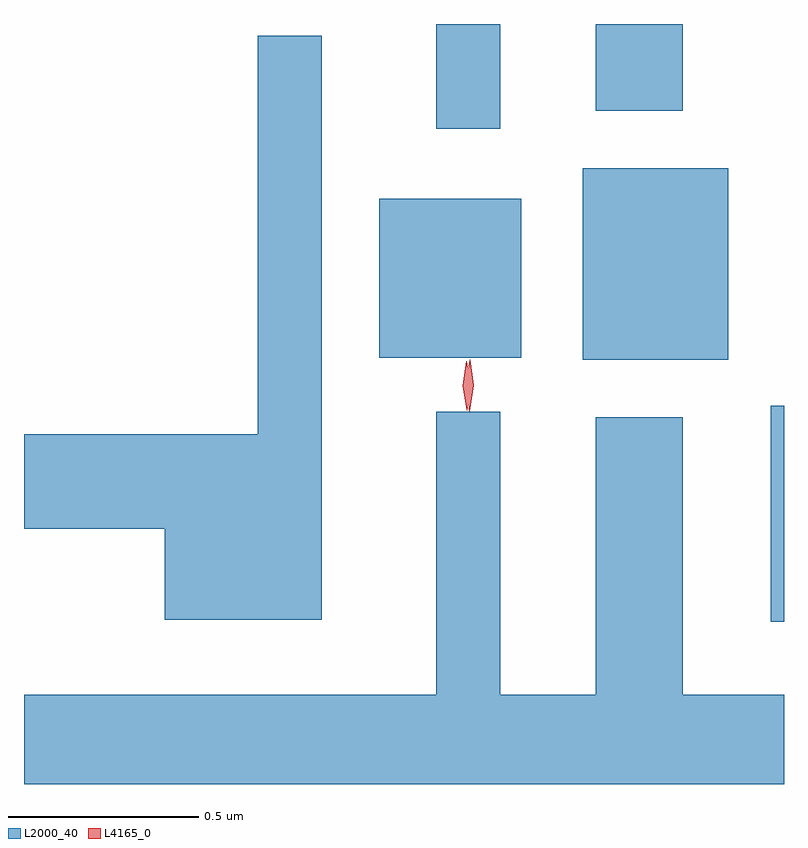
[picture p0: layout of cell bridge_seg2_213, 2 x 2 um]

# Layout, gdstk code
import gdstk
lib = gdstk.Library(unit=1e-6, precision=1e-09)
def R(c, l, rs):  # rectangles x0, y0, x1, y1
    for r in rs: c.add(gdstk.rectangle(r[:2], r[2:], *l))
def P(c, l, *ps):  # polygons
    for p in ps: c.add(gdstk.Polygon(p, *l))
L2000_40 = (2000, 40)
L4165_0 = (4165, 0)

bridge_seg2_213 = lib.new_cell('bridge_seg2_213')
R(bridge_seg2_213, L2000_40, [(974.651,986.616,974.686,987.184), (974.156,987.306,974.539,987.809), (973.621,987.311,973.994,987.729), (973.771,987.913,973.939,988.189), (974.191,987.961,974.419,988.189)])
P(bridge_seg2_213, L2000_40, [(973.469,988.158),(973.301,988.158),(973.301,987.109),(972.686,987.109),(972.686,986.861),(973.056,986.861),(973.056,986.621),(973.469,986.621)],
  [(974.686,986.424),(974.419,986.424),(974.419,987.154),(974.191,987.154),(974.191,986.424),(973.939,986.424),(973.939,987.168),(973.771,987.168),(973.771,986.424),(972.686,986.424),(972.686,986.189),(974.686,986.189)])
P(bridge_seg2_213, L4165_0, [(973.851,987.173),(973.851,987.173),(973.841,987.237),(973.85,987.301),(973.85,987.302),(973.851,987.301),(973.861,987.237),(973.852,987.173)],
  [(973.859,987.169),(973.858,987.17),(973.849,987.238),(973.859,987.305),(973.86,987.306),(973.86,987.305),(973.869,987.238),(973.859,987.17)])

lib.write_gds('bridge_seg2_213.gds')
